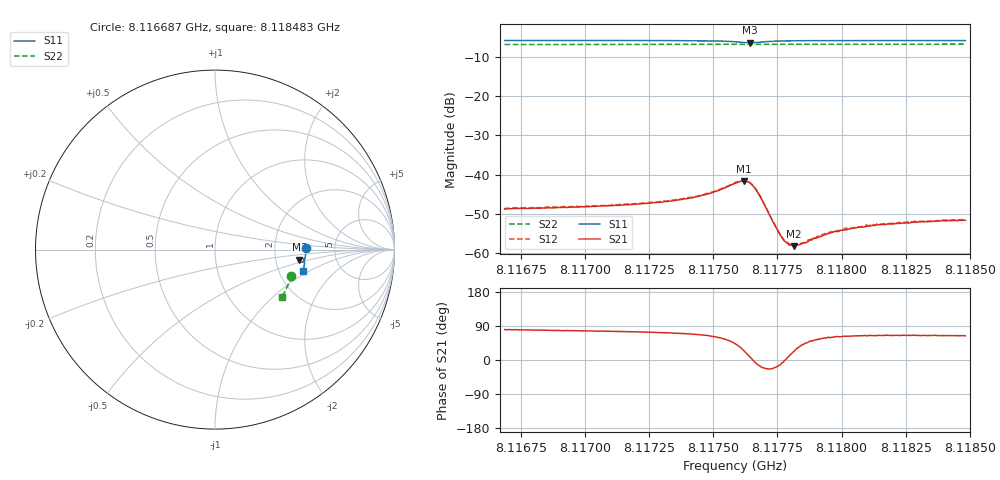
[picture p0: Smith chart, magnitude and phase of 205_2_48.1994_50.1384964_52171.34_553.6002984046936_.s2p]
#  HZ  S  RI  R  50.00
! Rohde & Schwarz Vector Network Analyzer
! Rohde-Schwarz,ZNB20-2Port,1311601062101988,3.16
! Created: UTC 3/20/2024, 11:45:12 AM
! freq[Hz]  re:S11  im:S11  re:S21  im:S21  re:S12  im:S12  re:S22  im:S22
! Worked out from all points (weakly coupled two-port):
!   401 points, 8.116687 GHz to 8.118483 GHz, reference 50 ohm
!   highest |S21| = -41.63 dB at 8.117621 GHz (marker M1); lowest = -58.2 dB at 8.117814 GHz (marker M2)
!   lowest |S11| = -6.5 dB at 8.117643 GHz (marker M3), VSWR 2.80, Z = 136 - j20 ohm
!   |S11| at or under -10 dB: nowhere
!   |S22| runs from -6.9 to -6.8 dB; largest |S21 - S12| = 0.00021
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8.1166866e9  0.5067 0.00695  0.000608 0.00359  0.000663 0.00365  0.4251 -0.1483
8.1169875e9  0.506 -0.0163  0.000887 0.0038  0.000939 0.00387  0.4186 -0.1683
8.1172883e9  0.5034 -0.041  0.00134 0.00421  0.00137 0.00427  0.4109 -0.188
8.1174455e9  0.4995 -0.0561  0.0021 0.00488  0.00218 0.00496  0.4066 -0.1982
8.1175173e9  0.4948 -0.0643  0.00315 0.00538  0.00327 0.00546  0.4043 -0.2028
8.1175847e9  0.4828 -0.0705  0.00565 0.00529  0.0058 0.0053  0.4017 -0.2071
8.1176206e9  0.4723 -0.0657  0.00758 0.00334  0.00777 0.00336  0.4005 -0.2089
8.1176431e9  0.4698 -0.057  0.00774 0.00107  0.00785 0.00102  0.3996 -0.2098
8.117661e9  0.473 -0.0501  0.00676 -0.00057  0.00688 -0.00068  0.3995 -0.2106
8.117679e9  0.4788 -0.0466  0.00532 -0.0014  0.00539 -0.00148  0.3991 -0.2115
8.1177374e9  0.493 -0.0512  0.00221 -0.000843  0.00224 -0.000882  0.398 -0.2154
8.1177688e9  0.4961 -0.0559  0.00154 -0.000191  0.00157 -0.000221  0.3973 -0.2176
8.1177913e9  0.4974 -0.0593  0.00131 0.000168  0.00132 0.000174  0.3965 -0.219
8.1178137e9  0.498 -0.0623  0.00114 0.000456  0.00116 0.000439  0.3959 -0.2206
8.1178227e9  0.4982 -0.0632  0.0011 0.000606  0.00114 0.000574  0.3957 -0.2211
8.1178496e9  0.4985 -0.0666  0.00103 0.000877  0.00101 0.000881  0.3949 -0.2228
8.1178856e9  0.4988 -0.0705  0.000934 0.00114  0.000966 0.00119  0.3936 -0.225
8.1179664e9  0.4983 -0.0783  0.000919 0.0016  0.000929 0.0016  0.3911 -0.2302
8.1180203e9  0.498 -0.083  0.000905 0.00176  0.000932 0.00185  0.3893 -0.2336
8.1181864e9  0.4957 -0.0968  0.00101 0.00213  0.00104 0.00216  0.3836 -0.2438
8.1182762e9  0.4942 -0.1038  0.00103 0.00223  0.00108 0.00227  0.3804 -0.2491
8.1184828e9  0.4906 -0.1194  0.00116 0.00235  0.00122 0.00238  0.3726 -0.2615
